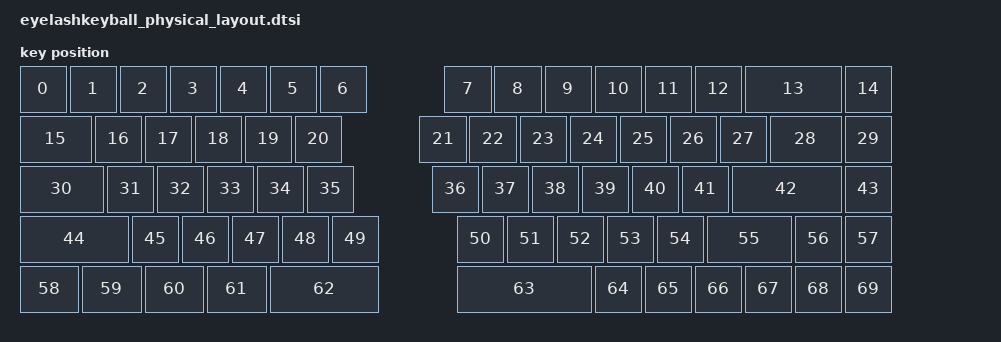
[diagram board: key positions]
#include <physical_layouts.dtsi>

/{
    	eyelashkeyball_physical_layout: eyelashkeyball_physical_layout {
        compatible = "zmk,physical-layout";
        display-name = "Default";
        transform = <&default_transform>;
        keys  //                     w   h    x    y     rot    rx    ry
            = <&key_physical_attrs 100 100    0    0       0     0     0>
            , <&key_physical_attrs 100 100  100    0       0     0     0>
            , <&key_physical_attrs 100 100  200    0       0     0     0>
            , <&key_physical_attrs 100 100  300    0       0     0     0>
            , <&key_physical_attrs 100 100  400    0       0     0     0>
            , <&key_physical_attrs 100 100  500    0       0     0     0>
            , <&key_physical_attrs 100 100  600    0       0     0     0>
            , <&key_physical_attrs 100 100  850    0       0     0     0>
            , <&key_physical_attrs 100 100  950    0       0     0     0>
            , <&key_physical_attrs 100 100 1050    0       0     0     0>
            , <&key_physical_attrs 100 100 1150    0       0     0     0>
            , <&key_physical_attrs 100 100 1250    0       0     0     0>
            , <&key_physical_attrs 100 100 1350    0       0     0     0>
            , <&key_physical_attrs 200 100 1450    0       0     0     0>
            , <&key_physical_attrs 100 100 1650    0       0     0     0>
            , <&key_physical_attrs 150 100    0  100       0     0     0>
            , <&key_physical_attrs 100 100  150  100       0     0     0>
            , <&key_physical_attrs 100 100  250  100       0     0     0>
            , <&key_physical_attrs 100 100  350  100       0     0     0>
            , <&key_physical_attrs 100 100  450  100       0     0     0>
            , <&key_physical_attrs 100 100  550  100       0     0     0>
            , <&key_physical_attrs 100 100  800  100       0     0     0>
            , <&key_physical_attrs 100 100  900  100       0     0     0>
            , <&key_physical_attrs 100 100 1000  100       0     0     0>
            , <&key_physical_attrs 100 100 1100  100       0     0     0>
            , <&key_physical_attrs 100 100 1200  100       0     0     0>
            , <&key_physical_attrs 100 100 1300  100       0     0     0>
            , <&key_physical_attrs 100 100 1400  100       0     0     0>
            , <&key_physical_attrs 150 100 1500  100       0     0     0>
            , <&key_physical_attrs 100 100 1650  100       0     0     0>
            , <&key_physical_attrs 175 100    0  200       0     0     0>
            , <&key_physical_attrs 100 100  175  200       0     0     0>
            , <&key_physical_attrs 100 100  275  200       0     0     0>
            , <&key_physical_attrs 100 100  375  200       0     0     0>
            , <&key_physical_attrs 100 100  475  200       0     0     0>
            , <&key_physical_attrs 100 100  575  200       0     0     0>
            , <&key_physical_attrs 100 100  825  200       0     0     0>
            , <&key_physical_attrs 100 100  925  200       0     0     0>
            , <&key_physical_attrs 100 100 1025  200       0     0     0>
            , <&key_physical_attrs 100 100 1125  200       0     0     0>
            , <&key_physical_attrs 100 100 1225  200       0     0     0>
            , <&key_physical_attrs 100 100 1325  200       0     0     0>
            , <&key_physical_attrs 225 100 1425  200       0     0     0>
            , <&key_physical_attrs 100 100 1650  200       0     0     0>
            , <&key_physical_attrs 225 100    0  300       0     0     0>
            , <&key_physical_attrs 100 100  225  300       0     0     0>
            , <&key_physical_attrs 100 100  325  300       0     0     0>
            , <&key_physical_attrs 100 100  425  300       0     0     0>
            , <&key_physical_attrs 100 100  525  300       0     0     0>
            , <&key_physical_attrs 100 100  625  300       0     0     0>
            , <&key_physical_attrs 100 100  875  300       0     0     0>
            , <&key_physical_attrs 100 100  975  300       0     0     0>
            , <&key_physical_attrs 100 100 1075  300       0     0     0>
            , <&key_physical_attrs 100 100 1175  300       0     0     0>
            , <&key_physical_attrs 100 100 1275  300       0     0     0>
            , <&key_physical_attrs 176 100 1375  300       0     0     0>
            , <&key_physical_attrs 100 100 1550  300       0     0     0>
            , <&key_physical_attrs 100 100 1650  300       0     0     0>
            , <&key_physical_attrs 125 100    0  400       0     0     0>
            , <&key_physical_attrs 125 100  125  400       0     0     0>
            , <&key_physical_attrs 125 100  250  400       0     0     0>
            , <&key_physical_attrs 125 100  375  400       0     0     0>
            , <&key_physical_attrs 225 100  500  400       0     0     0>
            , <&key_physical_attrs 275 100  875  400       0     0     0>
            , <&key_physical_attrs 100 100 1150  400       0     0     0>
            , <&key_physical_attrs 100 100 1250  400       0     0     0>
            , <&key_physical_attrs 100 100 1350  400       0     0     0>
            , <&key_physical_attrs 100 100 1450  400       0     0     0>
            , <&key_physical_attrs 100 100 1550  400       0     0     0>
            , <&key_physical_attrs 100 100 1650  400       0     0     0>
            ;
    };
}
